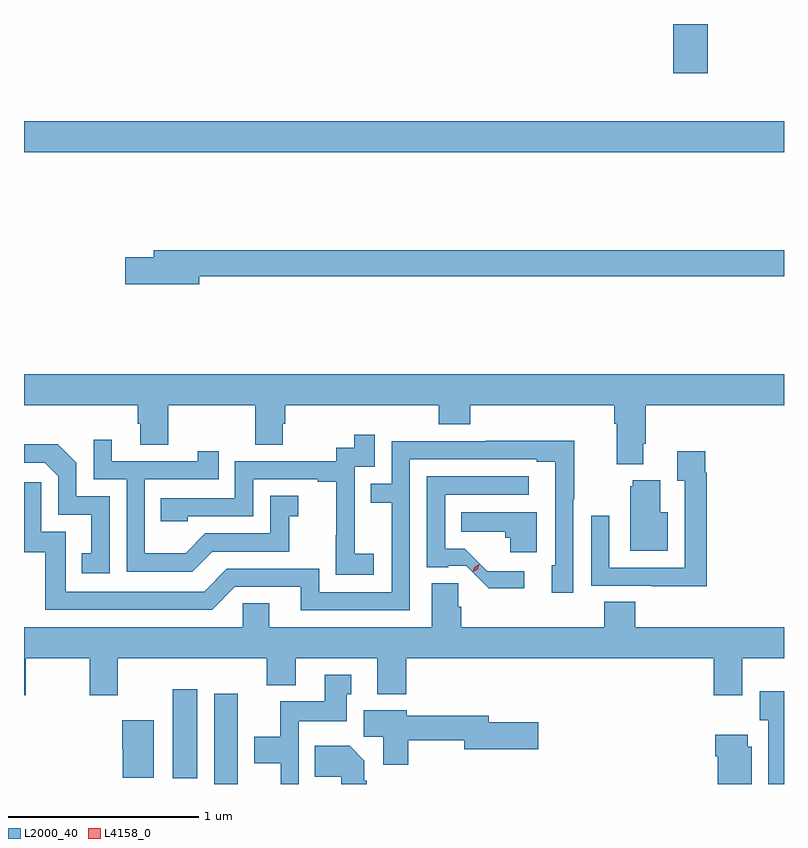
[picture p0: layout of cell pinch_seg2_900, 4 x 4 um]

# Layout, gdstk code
import gdstk
lib = gdstk.Library(unit=1e-6, precision=1e-09)
def R(c, l, rs):  # rectangles x0, y0, x1, y1
    for r in rs: c.add(gdstk.rectangle(r[:2], r[2:], *l))
def P(c, l, *ps):  # polygons
    for p in ps: c.add(gdstk.Polygon(p, *l))
L2000_40 = (2000, 40)
L4158_0 = (4158, 0)

pinch_seg2_900 = lib.new_cell('pinch_seg2_900')
R(pinch_seg2_900, L2000_40, [(494.141,642.979,494.266,643.453), (493.922,643.008,494.053,643.477), (493.14,646.304,497.14,646.468), (496.556,646.719,496.739,646.979)])
P(pinch_seg2_900, L2000_40, [(494.062,645.652),(497.14,645.652),(497.14,645.788),(493.823,645.788),(493.823,645.752),(493.674,645.752),(493.674,645.61),(494.062,645.61)],
  [(493.14,644.972),(493.739,644.972),(493.739,644.874),(493.751,644.874),(493.751,644.764),(493.899,644.764),(493.899,644.972),(494.356,644.972),(494.356,644.764),(494.503,644.764),(494.503,644.874),(494.516,644.874),(494.516,644.972),(495.323,644.972),(495.323,644.873),(495.488,644.873),(495.488,644.972),(496.247,644.972),(496.247,644.876),(496.259,644.876),(496.259,644.663),(496.399,644.663),(496.399,644.77),(496.412,644.77),(496.412,644.972),(497.14,644.972),(497.14,645.136),(493.14,645.136)],
  [(494.98,644.191),(494.882,644.191),(494.882,644.42),(494.88,644.42),(494.88,644.649),(494.985,644.649),(494.985,644.818),(494.877,644.818),(494.877,644.748),(494.784,644.748),(494.784,644.679),(494.25,644.679),(494.25,644.484),(493.861,644.484),(493.861,644.361),(494.001,644.361),(494.001,644.388),(494.346,644.388),(494.346,644.583),(494.687,644.583),(494.687,644.571),(494.783,644.571),(494.783,644.287),(494.782,644.287),(494.782,644.081),(494.98,644.081)],
  [(494.131,644.202),(494.535,644.202),(494.535,644.387),(494.584,644.387),(494.584,644.497),(494.436,644.497),(494.436,644.298),(494.094,644.298),(493.99,644.194),(493.776,644.194),(493.776,644.583),(494.165,644.583),(494.165,644.731),(494.054,644.731),(494.054,644.679),(493.603,644.679),(493.603,644.791),(493.506,644.791),(493.506,644.583),(493.68,644.583),(493.68,644.097),(494.026,644.097)],
  [(495.171,644.688),(495.839,644.688),(495.839,644.676),(495.936,644.676),(495.936,644.13),(495.917,644.13),(495.917,643.986),(496.032,643.986),(496.032,644.479),(496.035,644.479),(496.035,644.786),(495.571,644.786),(495.571,644.784),(495.075,644.784),(495.075,644.559),(494.965,644.559),(494.965,644.458),(495.075,644.458),(495.075,643.989),(494.694,643.989),(494.694,644.112),(494.208,644.112),(494.088,643.992),(493.359,643.992),(493.359,644.307),(493.23,644.307),(493.23,644.566),(493.14,644.566),(493.14,644.199),(493.251,644.199),(493.251,643.896),(494.13,643.896),(494.25,644.016),(494.597,644.016),(494.597,643.893),(495.171,643.893)],
  [(493.59,644.493),(493.416,644.493),(493.416,644.67),(493.318,644.768),(493.14,644.768),(493.14,644.67),(493.248,644.67),(493.32,644.598),(493.32,644.397),(493.493,644.397),(493.493,644.193),(493.444,644.193),(493.444,644.088),(493.59,644.088)],
  [(496.733,644.618),(496.726,644.618),(496.726,644.731),(496.577,644.731),(496.577,644.575),(496.617,644.575),(496.617,644.118),(496.221,644.118),(496.221,644.392),(496.125,644.392),(496.125,644.022),(496.441,644.022),(496.441,644.021),(496.733,644.021)],
  [(495.772,644.1),(495.577,644.1),(495.46,644.217),(495.357,644.217),(495.357,644.502),(495.796,644.502),(495.796,644.598),(495.261,644.598),(495.261,644.121),(495.374,644.121),(495.374,644.127),(495.467,644.127),(495.586,644.009),(495.772,644.009)],
  [(496.528,644.41),(496.489,644.41),(496.489,644.578),(496.343,644.578),(496.343,644.547),(496.331,644.547),(496.331,644.207),(496.528,644.207)],
  [(495.838,644.41),(495.442,644.41),(495.442,644.306),(495.673,644.306),(495.673,644.274),(495.698,644.274),(495.698,644.198),(495.838,644.198)],
  [(496.769,643.446),(496.921,643.446),(496.921,643.64),(497.14,643.64),(497.14,643.804),(496.358,643.804),(496.358,643.937),(496.193,643.937),(496.193,643.804),(495.44,643.804),(495.44,643.913),(495.426,643.913),(495.426,644.036),(495.287,644.036),(495.287,643.804),(494.431,643.804),(494.431,643.931),(494.292,643.931),(494.292,643.804),(493.14,643.804),(493.14,643.446),(493.149,643.446),(493.149,643.64),(493.486,643.64),(493.486,643.446),(493.633,643.446),(493.633,643.64),(494.417,643.64),(494.417,643.499),(494.569,643.499),(494.569,643.64),(494.999,643.64),(494.999,643.451),(495.152,643.451),(495.152,643.64),(496.769,643.64)],
  [(494.586,643.31),(494.839,643.31),(494.839,643.452),(494.863,643.452),(494.863,643.555),(494.723,643.555),(494.723,643.414),(494.488,643.414),(494.488,643.228),(494.351,643.228),(494.351,643.088),(494.49,643.088),(494.49,642.979),(494.586,642.979)],
  [(497.14,643.468),(497.012,643.468),(497.012,643.314),(497.057,643.314),(497.057,642.979),(497.14,642.979)],
  [(495.162,643.21),(495.458,643.21),(495.458,643.163),(495.847,643.163),(495.847,643.305),(495.586,643.305),(495.586,643.339),(495.154,643.339),(495.154,643.366),(494.927,643.366),(494.927,643.228),(495.032,643.228),(495.032,643.08),(495.162,643.08)],
  [(493.822,643.315),(493.658,643.315),(493.658,643.161),(493.66,643.161),(493.66,643.013),(493.822,643.013)],
  [(496.969,643.176),(496.948,643.176),(496.948,643.237),(496.778,643.237),(496.778,643.124),(496.79,643.124),(496.79,642.979),(496.969,642.979)],
  [(494.945,642.995),(494.932,642.995),(494.932,643.102),(494.854,643.18),(494.671,643.18),(494.671,643.016),(494.81,643.016),(494.81,642.979),(494.945,642.979)])
P(pinch_seg2_900, L4158_0, [(495.503,644.096),(495.503,644.096),(495.512,644.122),(495.537,644.136),(495.537,644.136),(495.537,644.136),(495.528,644.11),(495.504,644.096)])

lib.write_gds('pinch_seg2_900.gds')
